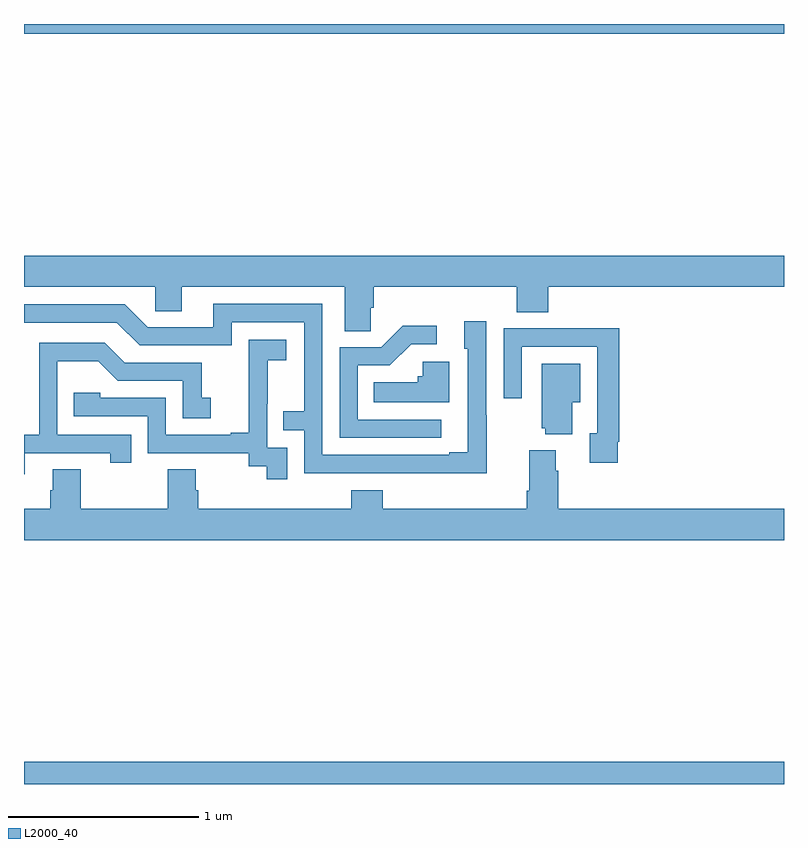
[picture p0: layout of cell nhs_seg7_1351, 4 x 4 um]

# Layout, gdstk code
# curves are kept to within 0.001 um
import gdstk
lib = gdstk.Library(unit=1e-6, precision=1e-09)
def R(c, l, rs):  # rectangles x0, y0, x1, y1
    for r in rs: c.add(gdstk.rectangle(r[:2], r[2:], *l))
def P(c, l, *ps):  # polygons
    for p in ps: c.add(gdstk.Polygon(p, *l))
L2000_40 = (2000, 40)

nhs_seg7_1351 = lib.new_cell('nhs_seg7_1351')
R(nhs_seg7_1351, L2000_40, [(205,998,209,998.116), (205,1001.948,209,1002)])
P(nhs_seg7_1351, L2000_40, [(206.826,1000.507),(206.84,1000.507),(206.84,1000.616),(207.593,1000.616),(207.593,1000.483),(207.758,1000.483),(207.758,1000.616),(209,1000.616),(209,1000.78),(205,1000.78),(205,1000.616),(205.692,1000.616),(205.692,1000.489),(205.831,1000.489),(205.831,1000.616),(206.687,1000.616),(206.687,1000.384),(206.826,1000.384)],
  [(207.435,999.941),(207.432,999.941),(207.432,1000.435),(207.317,1000.435),(207.317,1000.29),(207.336,1000.29),(207.336,999.745),(207.239,999.745),(207.239,999.732),(206.571,999.732),(206.571,1000.527),(205.997,1000.527),(205.997,1000.404),(205.65,1000.404),(205.53,1000.524),(205,1000.524),(205,1000.428),(205.488,1000.428),(205.608,1000.308),(206.094,1000.308),(206.094,1000.431),(206.475,1000.431),(206.475,999.962),(206.365,999.962),(206.365,999.861),(206.475,999.861),(206.475,999.636),(207.435,999.635)],
  [(207.196,999.918),(206.757,999.918),(206.757,1000.203),(206.926,1000.203),(207.037,1000.314),(207.172,1000.314),(207.172,1000.412),(206.993,1000.412),(206.88,1000.299),(206.661,1000.299),(206.661,999.822),(207.196,999.822)],
  [(208.126,999.802),(208.133,999.802),(208.133,1000.4),(207.841,1000.4),(207.841,1000.398),(207.525,1000.398),(207.525,1000.029),(207.621,1000.029),(207.621,1000.302),(208.017,1000.302),(208.017,999.846),(207.977,999.846),(207.977,999.69),(208.126,999.69)],
  [(206.385,999.771),(206.28,999.771),(206.28,1000.001),(206.282,1000.001),(206.282,1000.229),(206.38,1000.229),(206.38,1000.339),(206.182,1000.339),(206.182,1000.133),(206.183,1000.133),(206.183,999.85),(206.087,999.85),(206.087,999.837),(205.746,999.837),(205.746,1000.032),(205.401,1000.032),(205.401,1000.059),(205.261,1000.059),(205.261,999.936),(205.65,999.936),(205.65,999.741),(206.184,999.741),(206.184,999.673),(206.277,999.673),(206.277,999.603),(206.385,999.603)],
  [(205.003,999.741),(205.454,999.741),(205.454,999.69),(205.565,999.69),(205.565,999.837),(205.176,999.837),(205.176,1000.226),(205.39,1000.226),(205.494,1000.122),(205.836,1000.122),(205.836,999.924),(205.984,999.924),(205.984,1000.033),(205.935,1000.033),(205.935,1000.218),(205.531,1000.218),(205.426,1000.323),(205.08,1000.323),(205.08,999.837),(205,999.837),(205,999.63),(205.003,999.63)],
  [(207.238,1000.222),(207.099,1000.222),(207.099,1000.146),(207.073,1000.146),(207.073,1000.114),(206.842,1000.114),(206.842,1000.01),(207.238,1000.01)],
  [(207.886,1000.01),(207.928,1000.01),(207.928,1000.213),(207.725,1000.213),(207.725,999.873),(207.743,999.873),(207.743,999.842),(207.886,999.842)],
  [(207.799,999.65),(207.799,999.757),(207.659,999.757),(207.659,999.544),(207.647,999.544),(207.647,999.448),(206.888,999.448),(206.888,999.547),(206.723,999.547),(206.723,999.448),(205.916,999.448),(205.916,999.546),(205.903,999.546),(205.903,999.656),(205.756,999.656),(205.756,999.448),(205.299,999.448),(205.299,999.656),(205.151,999.656),(205.151,999.546),(205.139,999.546),(205.139,999.448),(205,999.448),(205,999.284),(209,999.284),(209,999.448),(207.812,999.448),(207.812,999.65)])

lib.write_gds('nhs_seg7_1351.gds')
